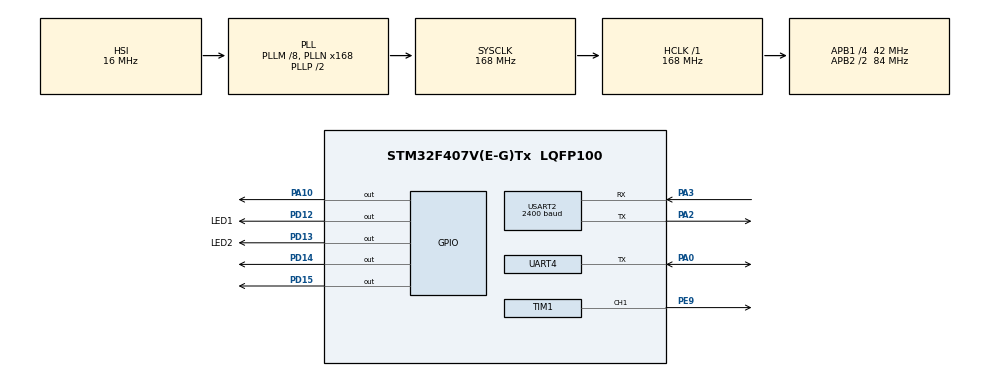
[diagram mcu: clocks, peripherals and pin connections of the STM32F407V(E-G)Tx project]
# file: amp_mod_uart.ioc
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Mcu.Family=STM32F4
Mcu.Name=STM32F407V(E-G)Tx
Mcu.Package=LQFP100
NVIC.PriorityGroup=NVIC_PRIORITYGROUP_4
NVIC.TIM1_UP_TIM10_IRQn=true\:0\:0\:false\:false\:true\:true\:true\:true
NVIC.USART2_IRQn=true\:0\:0\:false\:false\:true\:true\:true\:true
PA0-WKUP.Mode=Half_duplex(single_wire_mode)
PA0-WKUP.Signal=UART4_TX
PA10.Signal=GPIO_Output
PA2.Mode=Asynchronous
PA2.Signal=USART2_TX
PA3.Mode=Asynchronous
PA3.Signal=USART2_RX
PD12.GPIO_Label=LED1
PD12.Signal=GPIO_Output
PD13.GPIO_Label=LED2
PD13.Signal=GPIO_Output
PD14.Signal=GPIO_Output
PD15.Signal=GPIO_Output
PE9.Signal=S_TIM1_CH1
ProjectManager.HeapSize=0x200
ProjectManager.StackSize=0x400
ProjectManager.TargetToolchain=STM32CubeIDE
RCC.48MHZClocksFreq_Value=84000000
RCC.AHBFreq_Value=168000000
RCC.APB1CLKDivider=RCC_HCLK_DIV4
RCC.APB1Freq_Value=42000000
RCC.APB1TimFreq_Value=84000000
RCC.APB2CLKDivider=RCC_HCLK_DIV2
RCC.APB2Freq_Value=84000000
RCC.APB2TimFreq_Value=168000000
RCC.CortexFreq_Value=168000000
RCC.HCLKFreq_Value=168000000
RCC.HSE_VALUE=25000000
RCC.HSI_VALUE=16000000
RCC.LSE_VALUE=32768
RCC.PLLM=8
RCC.PLLN=168
RCC.SYSCLKFreq_VALUE=168000000
RCC.SYSCLKSource=RCC_SYSCLKSOURCE_PLLCLK
RCC.VCOOutputFreq_Value=336000000
SH.S_TIM1_CH1.0=TIM1_CH1,PWM Generation1 CH1
TIM1.Channel-PWM\ Generation1\ CH1=TIM_CHANNEL_1
TIM1.OC1Preload_PWM=DISABLE
TIM1.OCPolarity_1=TIM_OCPOLARITY_LOW
TIM1.Period=168-1
TIM1.Prescaler=1-1
UART4.BaudRate=2400
UART4.VirtualMode=Asynchronous
USART2.BaudRate=2400
USART2.VirtualMode=VM_ASYNC
VP_TIM1_VS_ClockSourceINT.Mode=Internal
board=custom

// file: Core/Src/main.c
/* USER CODE BEGIN Header */
/**
  ******************************************************************************
  * @file           : main.c
  * @brief          : Main program body
  ******************************************************************************
  * @attention
  *
  * Copyright (c) 2023 STMicroelectronics.
  * All rights reserved.
  *
  * This software is licensed under terms that can be found in the LICENSE file
  * in the root directory of this software component.
  * If no LICENSE file comes with this software, it is provided AS-IS.
  *
  ******************************************************************************
  */
/* USER CODE END Header */
#include "main.h"

 TIM_HandleTypeDef htim1;

UART_HandleTypeDef huart4;
UART_HandleTypeDef huart2;

void SystemClock_Config(void);
static void MX_GPIO_Init(void);
static void MX_UART4_Init(void);
static void MX_TIM1_Init(void);
static void MX_USART2_UART_Init(void);

/* USER CODE BEGIN 0 */
uint8_t x=0,checkForUARTInterrupt=0;
void Delay( uint16_t Val){
	for (int var = 0; var < 10000000; ++var) {

	}
}
void HAL_TIM_PeriodElapsedCallback(TIM_HandleTypeDef *htim)
{
        if(htim->Instance == TIM1)
        {
                HAL_GPIO_TogglePin(GPIOA, GPIO_PIN_10);
        }
}
void modulation(){
	if(HAL_GPIO_ReadPin(GPIOA, GPIO_PIN_2)==0){
		  	  HAL_TIM_PeriodElapsedCallback(&htim1);
	}
	if(HAL_GPIO_ReadPin(GPIOA, GPIO_PIN_2)==1){
		  	  HAL_GPIO_WritePin(GPIOA, GPIO_PIN_10,GPIO_PIN_SET);
	}

}

void HAL_UART_TxCpltCallback(UART_HandleTypeDef *huart)
{
	checkForUARTInterrupt=1;
}

/* USER CODE END 0 */

int main(void)
{

  /* MCU Configuration--------------------------------------------------------*/

  /* Reset of all peripherals, Initializes the Flash interface and the Systick. */
  HAL_Init();

  /* Configure the system clock */
  SystemClock_Config();

  /* Initialize all configured peripherals */
  MX_GPIO_Init();
  MX_UART4_Init();
  MX_TIM1_Init();
  MX_USART2_UART_Init();
  /* USER CODE BEGIN 2 */
  //HAL_NVIC_SetPriority(IRQn, PreemptPriority, SubPriority)
  //uint8_t tx_buff[]={0,1,2,3,4,5,6,7,8,9,0,1,2,3,4,5,6,7,8,9,0,1,2,3,4,5,6,7,8,9};
  //HAL_UART_Transmit_IT(&huart2, &x, sizeof(x));
  HAL_UART_Transmit_IT(&huart2, &x, sizeof(x));
  TIM1->CCR1=TIM1->ARR/2;

  HAL_TIM_PWM_Start_IT(&htim1, TIM_CHANNEL_1);

  __enable_irq ();
  /* USER CODE END 2 */

  /* Infinite loop */
  /* USER CODE BEGIN WHILE */
  while (1)
  {
	  	  modulation();

		  if (checkForUARTInterrupt){
			  HAL_Delay(1000);
			  checkForUARTInterrupt=0;
			  x++;
			  if(x>255){
				  x=0;
			  }
			  HAL_UART_Transmit_IT(&huart2, &x, sizeof(x));
		  }

    /* USER CODE END WHILE */

  }
}

void SystemClock_Config(void)
{
  RCC_OscInitTypeDef RCC_OscInitStruct = {0};
  RCC_ClkInitTypeDef RCC_ClkInitStruct = {0};

  /** Configure the main internal regulator output voltage
  */
  __HAL_RCC_PWR_CLK_ENABLE();
  __HAL_PWR_VOLTAGESCALING_CONFIG(PWR_REGULATOR_VOLTAGE_SCALE1);

  /** Initializes the RCC Oscillators according to the specified parameters
  * in the RCC_OscInitTypeDef structure.
  */
  RCC_OscInitStruct.OscillatorType = RCC_OSCILLATORTYPE_HSI;
  RCC_OscInitStruct.HSIState = RCC_HSI_ON;
  RCC_OscInitStruct.HSICalibrationValue = RCC_HSICALIBRATION_DEFAULT;
  RCC_OscInitStruct.PLL.PLLState = RCC_PLL_ON;
  RCC_OscInitStruct.PLL.PLLSource = RCC_PLLSOURCE_HSI;
  RCC_OscInitStruct.PLL.PLLM = 8;
  RCC_OscInitStruct.PLL.PLLN = 168;
  RCC_OscInitStruct.PLL.PLLP = RCC_PLLP_DIV2;
  RCC_OscInitStruct.PLL.PLLQ = 4;
  if (HAL_RCC_OscConfig(&RCC_OscInitStruct) != HAL_OK)
  {
    Error_Handler();
  }

  /** Initializes the CPU, AHB and APB buses clocks
  */
  RCC_ClkInitStruct.ClockType = RCC_CLOCKTYPE_HCLK|RCC_CLOCKTYPE_SYSCLK
                              |RCC_CLOCKTYPE_PCLK1|RCC_CLOCKTYPE_PCLK2;
  RCC_ClkInitStruct.SYSCLKSource = RCC_SYSCLKSOURCE_PLLCLK;
  RCC_ClkInitStruct.AHBCLKDivider = RCC_SYSCLK_DIV1;
  RCC_ClkInitStruct.APB1CLKDivider = RCC_HCLK_DIV4;
  RCC_ClkInitStruct.APB2CLKDivider = RCC_HCLK_DIV2;

  if (HAL_RCC_ClockConfig(&RCC_ClkInitStruct, FLASH_LATENCY_5) != HAL_OK)
  {
    Error_Handler();
  }
}

static void MX_TIM1_Init(void)
{

  TIM_ClockConfigTypeDef sClockSourceConfig = {0};
  TIM_MasterConfigTypeDef sMasterConfig = {0};
  TIM_OC_InitTypeDef sConfigOC = {0};
  TIM_BreakDeadTimeConfigTypeDef sBreakDeadTimeConfig = {0};

  htim1.Instance = TIM1;
  htim1.Init.Prescaler = 1-1;
  htim1.Init.CounterMode = TIM_COUNTERMODE_UP;
  htim1.Init.Period = 168-1;
  htim1.Init.ClockDivision = TIM_CLOCKDIVISION_DIV1;
  htim1.Init.RepetitionCounter = 0;
  htim1.Init.AutoReloadPreload = TIM_AUTORELOAD_PRELOAD_DISABLE;
  if (HAL_TIM_Base_Init(&htim1) != HAL_OK)
  {
    Error_Handler();
  }
  sClockSourceConfig.ClockSource = TIM_CLOCKSOURCE_INTERNAL;
  if (HAL_TIM_ConfigClockSource(&htim1, &sClockSourceConfig) != HAL_OK)
  {
    Error_Handler();
  }
  if (HAL_TIM_PWM_Init(&htim1) != HAL_OK)
  {
    Error_Handler();
  }
  sMasterConfig.MasterOutputTrigger = TIM_TRGO_RESET;
  sMasterConfig.MasterSlaveMode = TIM_MASTERSLAVEMODE_DISABLE;
  if (HAL_TIMEx_MasterConfigSynchronization(&htim1, &sMasterConfig) != HAL_OK)
  {
    Error_Handler();
  }
  sConfigOC.OCMode = TIM_OCMODE_PWM1;
  sConfigOC.Pulse = 0;
  sConfigOC.OCPolarity = TIM_OCPOLARITY_LOW;
  sConfigOC.OCNPolarity = TIM_OCNPOLARITY_HIGH;
  sConfigOC.OCFastMode = TIM_OCFAST_DISABLE;
  sConfigOC.OCIdleState = TIM_OCIDLESTATE_RESET;
  sConfigOC.OCNIdleState = TIM_OCNIDLESTATE_RESET;
  if (HAL_TIM_PWM_ConfigChannel(&htim1, &sConfigOC, TIM_CHANNEL_1) != HAL_OK)
  {
    Error_Handler();
  }
  __HAL_TIM_DISABLE_OCxPRELOAD(&htim1, TIM_CHANNEL_1);
  sBreakDeadTimeConfig.OffStateRunMode = TIM_OSSR_DISABLE;
  sBreakDeadTimeConfig.OffStateIDLEMode = TIM_OSSI_DISABLE;
  sBreakDeadTimeConfig.LockLevel = TIM_LOCKLEVEL_OFF;
  sBreakDeadTimeConfig.DeadTime = 0;
  sBreakDeadTimeConfig.BreakState = TIM_BREAK_DISABLE;
  sBreakDeadTimeConfig.BreakPolarity = TIM_BREAKPOLARITY_HIGH;
  sBreakDeadTimeConfig.AutomaticOutput = TIM_AUTOMATICOUTPUT_DISABLE;
  if (HAL_TIMEx_ConfigBreakDeadTime(&htim1, &sBreakDeadTimeConfig) != HAL_OK)
  {
    Error_Handler();
  }
  HAL_TIM_MspPostInit(&htim1);

}

static void MX_UART4_Init(void)
{

  huart4.Instance = UART4;
  huart4.Init.BaudRate = 2400;
  huart4.Init.WordLength = UART_WORDLENGTH_8B;
  huart4.Init.StopBits = UART_STOPBITS_1;
  huart4.Init.Parity = UART_PARITY_NONE;
  huart4.Init.Mode = UART_MODE_TX_RX;
  huart4.Init.HwFlowCtl = UART_HWCONTROL_NONE;
  huart4.Init.OverSampling = UART_OVERSAMPLING_16;
  if (HAL_HalfDuplex_Init(&huart4) != HAL_OK)
  {
    Error_Handler();
  }

}

static void MX_USART2_UART_Init(void)
{

  huart2.Instance = USART2;
  huart2.Init.BaudRate = 2400;
  huart2.Init.WordLength = UART_WORDLENGTH_8B;
  huart2.Init.StopBits = UART_STOPBITS_1;
  huart2.Init.Parity = UART_PARITY_NONE;
  huart2.Init.Mode = UART_MODE_TX_RX;
  huart2.Init.HwFlowCtl = UART_HWCONTROL_NONE;
  huart2.Init.OverSampling = UART_OVERSAMPLING_16;
  if (HAL_UART_Init(&huart2) != HAL_OK)
  {
    Error_Handler();
  }

}

static void MX_GPIO_Init(void)
{
  GPIO_InitTypeDef GPIO_InitStruct = {0};

  /* GPIO Ports Clock Enable */
  __HAL_RCC_GPIOA_CLK_ENABLE();
  __HAL_RCC_GPIOE_CLK_ENABLE();
  __HAL_RCC_GPIOD_CLK_ENABLE();

  /*Configure GPIO pin Output Level */
  HAL_GPIO_WritePin(GPIOD, LED1_Pin|LED2_Pin|GPIO_PIN_14|GPIO_PIN_15, GPIO_PIN_RESET);

  /*Configure GPIO pin Output Level */
  HAL_GPIO_WritePin(GPIOA, GPIO_PIN_10, GPIO_PIN_RESET);

  /*Configure GPIO pins : LED1_Pin LED2_Pin PD14 PD15 */
  GPIO_InitStruct.Pin = LED1_Pin|LED2_Pin|GPIO_PIN_14|GPIO_PIN_15;
  GPIO_InitStruct.Mode = GPIO_MODE_OUTPUT_PP;
  GPIO_InitStruct.Pull = GPIO_NOPULL;
  GPIO_InitStruct.Speed = GPIO_SPEED_FREQ_LOW;
  HAL_GPIO_Init(GPIOD, &GPIO_InitStruct);

  /*Configure GPIO pin : PA10 */
  GPIO_InitStruct.Pin = GPIO_PIN_10;
  GPIO_InitStruct.Mode = GPIO_MODE_OUTPUT_PP;
  GPIO_InitStruct.Pull = GPIO_NOPULL;
  GPIO_InitStruct.Speed = GPIO_SPEED_FREQ_LOW;
  HAL_GPIO_Init(GPIOA, &GPIO_InitStruct);

}

void Error_Handler(void)
{
  __disable_irq();
  while (1)
  {
  }
}
